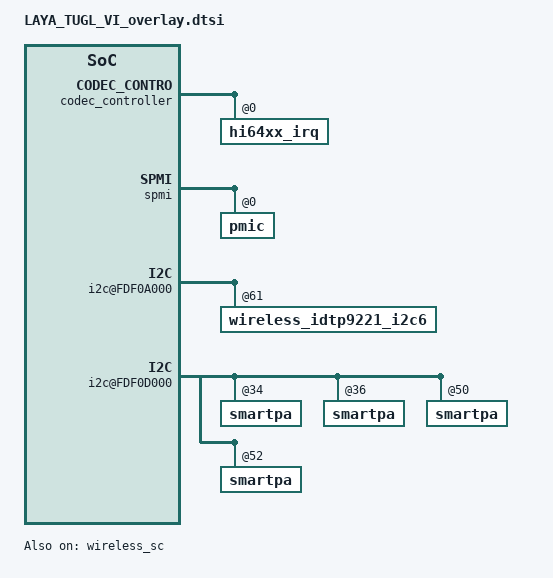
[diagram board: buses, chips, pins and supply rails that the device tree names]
/**
 * Copyright (C) 2014 Hisilicon Ltd.
 *
 *  This program is free software; you can redistribute it and/or modify
 *  it under the terms of the GNU General Public License version 2 as
 *  publishhed by the Free Software Foundation.
 */

/include/ "LAYA_TUGL_VG_overlay.dtsi"

/ {
    board_id = <8440>;
};

	&rootparam{
		hisi,boardid = <8 4 4 0>;
		hisi,boardname = "LAYA_TUGL_VI";
		hisi,modem_id = <0x37011C00>;
	};
    /* audio device beg */
    &codec_controller {
        hi64xx_irq@0 {
            hi6403_codec@0 {
                micbias_modify = <1>; //MICBIAS output 2.7V factory test, change from MAINMIC to MIC4.
                hisilicon,rcv_tdd_gpio = <56>;
            };
        };
    };

	&audio_hw_config {
		product_name = "LAYA";
		audio_capability {
			music_region_enable = "true";
			voice_region_enable = "true";
		};
	};

    &fingerprint {
        fingerprint,power_en_gpio = <53>;
    };

    &devcheck {
        airpress = <1>;
    };
    &wireless_sc {
        status = "ok";
    };
    &ncp3902_channel_switch {
        gpio_chgsw_flag_n = <&gpio33 0 0>;
    };

&spmi {
    pmic@0 {
        sim0 {
            pmu_ldo12_pull_down = <0>;
        };

        sim1 {
            pmu_ldo12_pull_down = <0>;
        };
    };
};

&amba {
    i2c@FDF0A000 {
    status = "ok";
        wireless_idtp9221_i2c6@61 {
            gpio_en_valid_val = <1>;
            status = "ok";
        };
    };
		i2c@FDF0D000 {
			smartpa@34{
				chip_model = "tfa9874";
			};

			smartpa@36{
				chip_model = "tfa9874";
			};
			smartpa@50{
				chip_model = "cs35l36";
			};
			smartpa@52{
				chip_model = "cs35l36";
			};
		};
};

	&sensorhub{
		light{
			als1{
				als_phone_version = <12>;
			};
		};
	};
